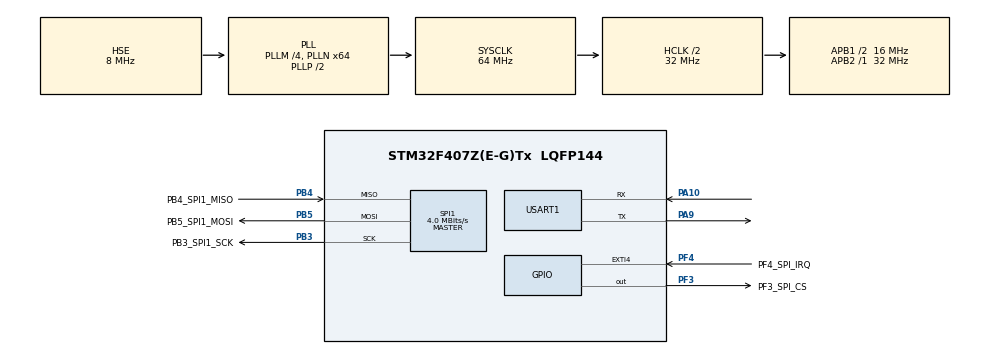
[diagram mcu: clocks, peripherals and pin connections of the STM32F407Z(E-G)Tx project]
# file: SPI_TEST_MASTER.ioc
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Mcu.Family=STM32F4
Mcu.Name=STM32F407Z(E-G)Tx
Mcu.Package=LQFP144
NVIC.EXTI4_IRQn=true\:0\:0\:false\:false\:true\:true
NVIC.PriorityGroup=NVIC_PRIORITYGROUP_4
NVIC.SPI1_IRQn=true\:0\:0\:false\:false\:true\:true
PA10.Mode=Asynchronous
PA10.Signal=USART1_RX
PA13.Mode=Serial_Wire
PA13.Signal=SYS_JTMS-SWDIO
PA14.Mode=Serial_Wire
PA14.Signal=SYS_JTCK-SWCLK
PA9.Mode=Asynchronous
PA9.Signal=USART1_TX
PB3.GPIO_Label=PB3_SPI1_SCK
PB3.Mode=Full_Duplex_Master
PB3.Signal=SPI1_SCK
PB4.GPIO_Label=PB4_SPI1_MISO
PB4.Mode=Full_Duplex_Master
PB4.Signal=SPI1_MISO
PB5.GPIO_Label=PB5_SPI1_MOSI
PB5.Mode=Full_Duplex_Master
PB5.Signal=SPI1_MOSI
PF3.GPIO_Label=PF3_SPI_CS
PF3.Signal=GPIO_Output
PF4.GPIO_Label=PF4_SPI_IRQ
PF4.GPIO_ModeDefaultEXTI=GPIO_MODE_IT_RISING
PF4.Signal=GPXTI4
PH0-OSC_IN.Mode=HSE-External-Oscillator
PH0-OSC_IN.Signal=RCC_OSC_IN
PH1-OSC_OUT.Mode=HSE-External-Oscillator
PH1-OSC_OUT.Signal=RCC_OSC_OUT
ProjectManager.HeapSize=0x200
ProjectManager.StackSize=0x400
ProjectManager.TargetToolchain=EWARM V7
RCC.48MHZClocksFreq_Value=32000000
RCC.AHBCLKDivider=RCC_SYSCLK_DIV2
RCC.AHBFreq_Value=32000000
RCC.APB1CLKDivider=RCC_HCLK_DIV2
RCC.APB1Freq_Value=16000000
RCC.APB1TimFreq_Value=32000000
RCC.APB2Freq_Value=32000000
RCC.APB2TimFreq_Value=32000000
RCC.CortexFreq_Value=32000000
RCC.HCLKFreq_Value=32000000
RCC.HSE_VALUE=8000000
RCC.HSI_VALUE=16000000
RCC.LSE_VALUE=32768
RCC.PLLM=4
RCC.PLLN=64
RCC.PLLSourceVirtual=RCC_PLLSOURCE_HSE
RCC.SYSCLKFreq_VALUE=64000000
RCC.SYSCLKSource=RCC_SYSCLKSOURCE_PLLCLK
RCC.VCOOutputFreq_Value=128000000
SPI1.BaudRatePrescaler=SPI_BAUDRATEPRESCALER_8
SPI1.CalculateBaudRate=4.0 MBits/s
SPI1.Direction=SPI_DIRECTION_2LINES
SPI1.Mode=SPI_MODE_MASTER
SPI1.VirtualType=VM_MASTER
USART1.VirtualMode=VM_ASYNC
board=SPI_TEST_MASTER

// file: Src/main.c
/**
  ******************************************************************************
  * @file           : main.c
  * @brief          : Main program body
  ******************************************************************************
  ** This notice applies to any and all portions of this file
  * that are not between comment pairs USER CODE BEGIN and
  * USER CODE END. Other portions of this file, whether
  * inserted by the user or by software development tools
  * are owned by their respective copyright owners.
  *
  * COPYRIGHT(c) 2018 STMicroelectronics
  *
  * Redistribution and use in source and binary forms, with or without modification,
  * are permitted provided that the following conditions are met:
  *   1. Redistributions of source code must retain the above copyright notice,
  *      this list of conditions and the following disclaimer.
  *   2. Redistributions in binary form must reproduce the above copyright notice,
  *      this list of conditions and the following disclaimer in the documentation
  *      and/or other materials provided with the distribution.
  *   3. Neither the name of STMicroelectronics nor the names of its contributors
  *      may be used to endorse or promote products derived from this software
  *      without specific prior written permission.
  *
  * THIS SOFTWARE IS PROVIDED BY THE COPYRIGHT HOLDERS AND CONTRIBUTORS "AS IS"
  * AND ANY EXPRESS OR IMPLIED WARRANTIES, INCLUDING, BUT NOT LIMITED TO, THE
  * IMPLIED WARRANTIES OF MERCHANTABILITY AND FITNESS FOR A PARTICULAR PURPOSE ARE
  * DISCLAIMED. IN NO EVENT SHALL THE COPYRIGHT HOLDER OR CONTRIBUTORS BE LIABLE
  * FOR ANY DIRECT, INDIRECT, INCIDENTAL, SPECIAL, EXEMPLARY, OR CONSEQUENTIAL
  * DAMAGES (INCLUDING, BUT NOT LIMITED TO, PROCUREMENT OF SUBSTITUTE GOODS OR
  * SERVICES; LOSS OF USE, DATA, OR PROFITS; OR BUSINESS INTERRUPTION) HOWEVER
  * CAUSED AND ON ANY THEORY OF LIABILITY, WHETHER IN CONTRACT, STRICT LIABILITY,
  * OR TORT (INCLUDING NEGLIGENCE OR OTHERWISE) ARISING IN ANY WAY OUT OF THE USE
  * OF THIS SOFTWARE, EVEN IF ADVISED OF THE POSSIBILITY OF SUCH DAMAGE.
  *
  ******************************************************************************
  */
#include "main.h"
#include "stm32f4xx_hal.h"
#include "dma.h"
#include "spi.h"
#include "usart.h"
#include "gpio.h"

/* USER CODE BEGIN Includes */
#include "stdarg.h"
#include "stdio.h"
#include "string.h"

#define MAX_PRINTF_STR_SIZE (254)
int32_t SerialDbgPrintf(uint8_t type, char *fmt, ...)
{
	if (type == 1)
	{
		int32_t cnt;
		char string[MAX_PRINTF_STR_SIZE + 2] = {'\0'};
		va_list ap;
		va_start(ap, fmt);

		cnt = vsnprintf(string, MAX_PRINTF_STR_SIZE, fmt, ap);
		if (cnt > 0)
		{
			if (cnt < MAX_PRINTF_STR_SIZE)
			{
				HAL_UART_Transmit(&huart1, (uint8_t *)string, cnt, 50);
			}
			else
			{
        HAL_UART_Transmit(&huart1, (uint8_t *)string, MAX_PRINTF_STR_SIZE, 50);
			}
		}
		va_end(ap);
		return (cnt);
	}
	return -1;
}

#define DebugLog(format, ...) SerialDbgPrintf(1, "\r\n" format, ##__VA_ARGS__)
#define DebugPrint(format, ...) SerialDbgPrintf(1, format, ##__VA_ARGS__)

void BLESpiTick(void);
/* USER CODE END Includes */

/* USER CODE BEGIN PV */
/* Private variables ---------------------------------------------------------*/

/* USER CODE END PV */

void SystemClock_Config(void);

/* USER CODE BEGIN PFP */
/* Private function prototypes -----------------------------------------------*/

/* USER CODE END PFP */

int main(void)
{

  /* MCU Configuration----------------------------------------------------------*/

  /* Reset of all peripherals, Initializes the Flash interface and the Systick. */
  HAL_Init();

  /* Configure the system clock */
  SystemClock_Config();

  /* Initialize all configured peripherals */
  MX_GPIO_Init();
  MX_DMA_Init();
  MX_SPI1_Init();
  MX_USART1_UART_Init();
  /* USER CODE BEGIN 2 */
  DebugLog("Spi protocol start!");
  /* USER CODE END 2 */

  /* Infinite loop */
  while (1)
  {
    BLESpiTick();
  }

}

void SystemClock_Config(void)
{

  RCC_OscInitTypeDef RCC_OscInitStruct;
  RCC_ClkInitTypeDef RCC_ClkInitStruct;

    /**Configure the main internal regulator output voltage
    */
  __HAL_RCC_PWR_CLK_ENABLE();

  __HAL_PWR_VOLTAGESCALING_CONFIG(PWR_REGULATOR_VOLTAGE_SCALE1);

    /**Initializes the CPU, AHB and APB busses clocks
    */
  RCC_OscInitStruct.OscillatorType = RCC_OSCILLATORTYPE_HSE;
  RCC_OscInitStruct.HSEState = RCC_HSE_ON;
  RCC_OscInitStruct.PLL.PLLState = RCC_PLL_ON;
  RCC_OscInitStruct.PLL.PLLSource = RCC_PLLSOURCE_HSE;
  RCC_OscInitStruct.PLL.PLLM = 4;
  RCC_OscInitStruct.PLL.PLLN = 64;
  RCC_OscInitStruct.PLL.PLLP = RCC_PLLP_DIV2;
  RCC_OscInitStruct.PLL.PLLQ = 4;
  if (HAL_RCC_OscConfig(&RCC_OscInitStruct) != HAL_OK)
  {
    _Error_Handler(__FILE__, __LINE__);
  }

    /**Initializes the CPU, AHB and APB busses clocks
    */
  RCC_ClkInitStruct.ClockType = RCC_CLOCKTYPE_HCLK|RCC_CLOCKTYPE_SYSCLK
                              |RCC_CLOCKTYPE_PCLK1|RCC_CLOCKTYPE_PCLK2;
  RCC_ClkInitStruct.SYSCLKSource = RCC_SYSCLKSOURCE_PLLCLK;
  RCC_ClkInitStruct.AHBCLKDivider = RCC_SYSCLK_DIV2;
  RCC_ClkInitStruct.APB1CLKDivider = RCC_HCLK_DIV2;
  RCC_ClkInitStruct.APB2CLKDivider = RCC_HCLK_DIV1;

  if (HAL_RCC_ClockConfig(&RCC_ClkInitStruct, FLASH_LATENCY_1) != HAL_OK)
  {
    _Error_Handler(__FILE__, __LINE__);
  }

    /**Configure the Systick interrupt time
    */
  HAL_SYSTICK_Config(HAL_RCC_GetHCLKFreq()/1000);

    /**Configure the Systick
    */
  HAL_SYSTICK_CLKSourceConfig(SYSTICK_CLKSOURCE_HCLK);

  /* SysTick_IRQn interrupt configuration */
  HAL_NVIC_SetPriority(SysTick_IRQn, 0, 0);
}

void _Error_Handler(char *file, int line)
{
  /* USER CODE BEGIN Error_Handler_Debug */
  DebugLog("_Error_Handler: (%s) (%d)", file, line);
  /* User can add his own implementation to report the HAL error return state */
  while(1)
  {
  }
  /* USER CODE END Error_Handler_Debug */
}

#ifdef  USE_FULL_ASSERT
/**
  * @brief  Reports the name of the source file and the source line number
  *         where the assert_param error has occurred.
  * @param  file: pointer to the source file name
  * @param  line: assert_param error line source number
  * @retval None
  */
void assert_failed(uint8_t* file, uint32_t line)
{
  /* USER CODE BEGIN 6 */
  DebugLog("assert_failed: (%s) (%d)", file, line);
  /* User can add his own implementation to report the file name and line number,
     tex: printf("Wrong parameters value: file %s on line %d\r\n", file, line) */
  /* USER CODE END 6 */
}
#endif /* USE_FULL_ASSERT */

#define SPI_MAX_ITEM_SIZE (128 *3)
#define SPI_BUFFER_SIZE (SPI_MAX_ITEM_SIZE + 4)

#define WIFI_SPI_HEADER_LEN  (uint8_t)(6)
#define WSHC_LOW_B (4) // WIFI SPI HEADER CRC16 LOW BYTE
#define WSHC_HIGH_B (5) // WIFI SPI HEADER CRC16 HIGH BYTE
#define WIFI_SPI_CTRL_WRITE  (uint8_t)(0x02)
#define WIFI_SPI_CTRL_READ   (uint8_t)(0x03)
#define WIFI_SPI_RSP_MASK (0x8000)

#define WIFI_SPI_IRQ_PIN_READ() HAL_GPIO_ReadPin(PF4_SPI_IRQ_GPIO_Port, PF4_SPI_IRQ_Pin)
#define WIFI_SPI_CS_SET_LOW() HAL_GPIO_WritePin(PF3_SPI_CS_GPIO_Port, PF3_SPI_CS_Pin, GPIO_PIN_RESET)
#define WIFI_SPI_CS_SET_HIGH() HAL_GPIO_WritePin(PF3_SPI_CS_GPIO_Port, PF3_SPI_CS_Pin, GPIO_PIN_SET)

#define WIFI_SPI_HANDLE hspi1

volatile uint8_t spi_irq_flag = 0;
volatile uint8_t spi_bus_halt = 0;
static uint8_t SpiRxBuffer[SPI_BUFFER_SIZE];            /**< RX buffer. */
static uint8_t SpiTxBuffer[SPI_BUFFER_SIZE];            /**< TX buffer. */
static uint16_t SpiTxSize = 0;
static uint16_t cmdRec = 0;
static uint16_t lenRec = 0;

volatile uint8_t spiCpl = 0;
volatile uint8_t spiErr = 0;

void HAL_GPIO_EXTI_Callback(uint16_t GPIO_Pin)
{
  if (GPIO_Pin == GPIO_PIN_4)
  {
    spi_irq_flag = 1;
    spi_bus_halt = 0;
  }
}

void HAL_SPI_TxRxCpltCallback(SPI_HandleTypeDef *hspi)
{
  if (&WIFI_SPI_HANDLE == hspi)
  {
    spiCpl = 1;
  }
}
void HAL_SPI_RxCpltCallback(SPI_HandleTypeDef *hspi)
{
  if (&WIFI_SPI_HANDLE == hspi)
  {
    spiCpl = 1;
  }
}
void HAL_SPI_ErrorCallback(SPI_HandleTypeDef *hspi)
{
  if (&WIFI_SPI_HANDLE == hspi)
  {
    spiErr = 1;
  }
}

int16_t SPI_Read_Bridge(void);
int16_t SPI_Write_Bridge(uint8_t* data, uint16_t Nb_bytes);
uint16_t Cal_CRC16(const uint8_t *data, uint32_t size);

void BLESpiTick(void)
{
  if (spi_bus_halt == 0)
  {
    if (spi_irq_flag == 1)
    {
      spi_irq_flag = 0;
      SPI_Read_Bridge();
    }

    HAL_Delay(5);

    if (SpiTxSize)
    {
      *((uint16_t *)SpiTxBuffer) = SpiTxSize;
      *((uint16_t *)(SpiTxBuffer + 2)) = cmdRec | WIFI_SPI_RSP_MASK;
      *((uint16_t *)(SpiTxBuffer + 4)) = lenRec;
      *((uint16_t *)(SpiTxBuffer + 6)) = Cal_CRC16(SpiTxBuffer, 6);
      SPI_Write_Bridge((uint8_t *)SpiTxBuffer, SpiTxSize);
      SpiTxSize = 0;
      memset(SpiTxBuffer, 0, sizeof(SpiTxBuffer));
    }
  }
}

int16_t SPI_Read_Bridge(void)
{
  int16_t result = -1;
  uint16_t byte_count = 0;
  uint16_t wait_count = 0;
  uint16_t crc16 = 0;

  uint8_t header_master[WIFI_SPI_HEADER_LEN] = {WIFI_SPI_CTRL_READ, 0x00, 0x00, 0x00, 0x00, 0x00};
  uint8_t header_slave[WIFI_SPI_HEADER_LEN]  = {0x00};

  uint16_t i = 0;

  uint32_t sysTickRec = 0;

  if(WIFI_SPI_IRQ_PIN_READ() == GPIO_PIN_RESET) {
    DebugLog("SPI_Read_Bridge IRQ pin state err");
    result = -2;
    goto failed;
  }

  DebugLog("SPI_Read_Bridge IRQPin(%d)", WIFI_SPI_IRQ_PIN_READ());

  memset(SpiRxBuffer, 0, sizeof(SpiRxBuffer));

  WIFI_SPI_CS_SET_LOW();
  if (HAL_SPI_TransmitReceive_DMA(&WIFI_SPI_HANDLE, header_master, header_slave, WIFI_SPI_HEADER_LEN))
  {
    DebugLog("SPI_Read_Bridge Header transfer err");
    result = -3;
    goto failed;
  }

  sysTickRec = HAL_GetTick();

  while (spiCpl == 0)
  {
    if (((HAL_GetTick() - sysTickRec) > 150) || (spiErr != 0))
    {
      if (spiErr != 0)
      {
        DebugLog("SPI_Read_Bridge Header transfer dma err");
        result = -3;
        goto failed;
      }
      else
      {
        DebugLog("SPI_Read_Bridge Header transfer timeout");
        result = -3;
        goto failed;
      }
    }
  }

  spiCpl = 0;

  crc16 = Cal_CRC16(header_slave + 2, 2);
  if (crc16 != (((uint16_t)header_slave[5])<<8 | (uint16_t)header_slave[4]))
  {
    DebugLog("SPI_Read_Bridge header_slave crc err");
    result = -4;
    goto failed;
  }

  byte_count = ((uint16_t)header_slave[3])<<8 | (uint16_t)header_slave[2];
  if (byte_count == 0)
  {
    DebugLog("SPI_Read_Bridge receive byte_count 0");
    result = -5;
    goto failed;
  }
  else if (byte_count > SPI_MAX_ITEM_SIZE)
  {
    DebugLog("SPI_Read_Bridge receive byte_count %d > max(%d)", byte_count, SPI_MAX_ITEM_SIZE);
    result = -6;
    goto failed;
  }
  else
  {
    DebugLog("SPI_Read_Bridge byte_count: %d", byte_count);
  }

  DebugLog("SPI_Read_Bridge Wait IRQPin Low");
  while (WIFI_SPI_IRQ_PIN_READ() != GPIO_PIN_RESET)
  {
    HAL_Delay(1); // Delay 10 ms
    wait_count++;
    if (wait_count == 50)
    {
      DebugLog("SPI_Read_Bridge Wait IRQPin Low Timeout");
      result = -8;
      goto failed;
    }
  }

  if (byte_count > 0)
  {
    DebugLog("SPI_Read_Bridge receive data size(%d)", byte_count);
    if (HAL_SPI_TransmitReceive_DMA(&WIFI_SPI_HANDLE, SpiRxBuffer, SpiRxBuffer, byte_count))
    {
      DebugLog("SPI_Read_Bridge receive data err");
      result = -9;
      goto failed;
    }

    sysTickRec = HAL_GetTick();

    while (spiCpl == 0)
    {
      if (((HAL_GetTick() - sysTickRec) > 1000) || (spiErr != 0))
      {
        if (spiErr != 0)
        {
          DebugLog("SPI_Read_Bridge data transfer dma err");
          result = -9;
          goto failed;
        }
        else
        {
          DebugLog("SPI_Read_Bridge data transfer timeout");
          result = -9;
          goto failed;
        }
      }
    }

    spiCpl = 0;

    crc16 = Cal_CRC16(SpiRxBuffer, byte_count - 2);
    if (crc16 != (((uint16_t)SpiRxBuffer[byte_count - 1])<<8 | (uint16_t)SpiRxBuffer[byte_count - 2]))
    {
      DebugLog("SPI_Read_Bridge read data crc err");
      result = -10;
      goto failed;
    }
  }
  result = byte_count;

  lenRec = *((uint16_t *)SpiRxBuffer);
  cmdRec = *((uint16_t *)(SpiRxBuffer + 2));
  SpiTxSize = 8;
  DebugLog("SPI_Read_Bridge lenRec(%d) cmdRec(%d)\r\n", lenRec, cmdRec);

  DebugLog("SPI_Read_Bridge received data\r\n");
  for (i = 0; i < byte_count; i++)
  {
    DebugPrint("0x%x ", SpiRxBuffer[i]);
  }
  DebugPrint("\r\n");

failed:
  if(spi_irq_flag == 1)
  {
    DebugLog("SPI_Read_Bridge spi_irq_flag pending");
  }

  if (result < 0)
  {
      DebugLog("====>>>> SPI_Read_Bridge fail");
      spi_irq_flag = 0;
      spi_bus_halt = 1;
  }

  spiErr = 0;

  WIFI_SPI_CS_SET_HIGH();

  return result;
}

int16_t SPI_Write_Bridge(uint8_t* data, uint16_t Nb_bytes)
{
  int16_t result = -1;
  uint32_t wait_count = 0;
  uint16_t crc16 = 0;

  uint8_t header_master[WIFI_SPI_HEADER_LEN] = {WIFI_SPI_CTRL_WRITE, 0x00, 0x00, 0x00, 0x00, 0x00};
  uint8_t header_slave[WIFI_SPI_HEADER_LEN]  = {0x00};
  uint16_t i = 0;

  uint32_t sysTickRec = 0;

  header_master[2] = (uint8_t)Nb_bytes;
  header_master[3] = (uint8_t)(Nb_bytes>>8);

  crc16 = Cal_CRC16(header_master + 2, 2);
  header_master[4] = (uint8_t)crc16;
  header_master[5] = (uint8_t)(crc16>>8);

  DebugLog("SPI_Write_Bridge Set CS Low");
  WIFI_SPI_CS_SET_LOW();

  while ((WIFI_SPI_IRQ_PIN_READ() == GPIO_PIN_RESET) || (spi_irq_flag == 0)) {
    HAL_Delay(1);
    wait_count++;
    if (wait_count == 1000)
    {
      DebugLog("SPI_Write_Bridge Wait IRQPin High Timeout");
      result = -2;
      goto failed;
    }
  }

  DebugLog("SPI_Write_Bridge IRQPin(%d)", WIFI_SPI_IRQ_PIN_READ());

  if (HAL_SPI_TransmitReceive_DMA(&WIFI_SPI_HANDLE, header_master, header_slave, WIFI_SPI_HEADER_LEN))
  {
    DebugLog("SPI_Write_Bridge Header transfer err");
    result = -3;
    goto failed;
  }

  sysTickRec = HAL_GetTick();

  while (spiCpl == 0)
  {
    if (((HAL_GetTick() - sysTickRec) > 150) || (spiErr != 0))
    {
      if (spiErr != 0)
      {
        DebugLog("SPI_Write_Bridge Header transfer dma err");
        result = -3;
        goto failed;
      }
      else
      {
        DebugLog("SPI_Write_Bridge Header transfer timeout");
        result = -3;
        goto failed;
      }
    }
  }

  spiCpl = 0;
  spi_irq_flag = 0;

  DebugLog("SPI_Write_Bridge Wait IRQPin Low");
  wait_count = 0;
  while (WIFI_SPI_IRQ_PIN_READ() != GPIO_PIN_RESET)
  {
    HAL_Delay(1);
    wait_count++;
    if (wait_count == 50)
    {
      DebugLog("SPI_Write_Bridge Wait IRQPin Low Timeout");
      result = -7;
      goto failed;
    }
  }

  DebugLog("SPI_Write_Bridge transfer dataLen(%d):\r\n", Nb_bytes);
  for (i = 0; i < Nb_bytes; i++)
  {
    DebugPrint("0x%x ", data[i]);
  }
  DebugPrint("\r\n");
  if (HAL_SPI_TransmitReceive_DMA(&WIFI_SPI_HANDLE, data, data, Nb_bytes))
  {
    DebugLog("SPI_Write_Bridge data transfer err");
    result = -8;
    goto failed;
  }

  sysTickRec = HAL_GetTick();

  while (spiCpl == 0)
  {
    if (((HAL_GetTick() - sysTickRec) > 1000) || (spiErr != 0))
    {
      if (spiErr != 0)
      {
        DebugLog("SPI_Write_Bridge data transfer dma err");
        result = -8;
        goto failed;
      }
      else
      {
        DebugLog("SPI_Write_Bridge data transfer timeout");
        result = -8;
        goto failed;
      }
    }
  }

  spiCpl = 0;
  result = Nb_bytes;

failed:

  if(spi_irq_flag == 1)
  {
    DebugLog("SPI_Write_Bridge spi_irq_flag pending");
  }

  if (result < 0)
  {
    DebugLog("====>>>> SPI_Write_Bridge fail");
    spi_irq_flag = 0;
    spi_bus_halt = 1;
  }

  spiErr = 0;

  WIFI_SPI_CS_SET_HIGH();

  return result;
}

/**
  * @brief  Update CRC 16 for input byte
  * @param  CRC input value
  * @param  input byte
  * @retval Updated CRC value
  */
static uint16_t UpdateCRC16(uint16_t crcIn, uint8_t byte)
{
  uint32_t crc = crcIn;
  uint32_t in = byte | 0x100;

  do
  {
    crc <<= 1;
    in <<= 1;

    if (in & 0x100)
    {
      ++crc;
    }

    if (crc & 0x10000)
    {
      crc ^= 0x1021;
    }
  } while (!(in & 0x10000));

  return (crc & 0xffffu);
}

/**
  * @brief  Cal CRC 16 for YModem Packet
  * @param  data
  * @param  length
  * @retval CRC value
  */
uint16_t Cal_CRC16(const uint8_t *data, uint32_t size)
{
  uint32_t crc = 0;
  const uint8_t *dataEnd = data + size;

  while (data < dataEnd)
  {
    crc = UpdateCRC16(crc, *data++);
  }
  crc = UpdateCRC16(crc, 0);
  crc = UpdateCRC16(crc, 0);

  return (crc & 0xffffu);
}

/************************ (C) COPYRIGHT STMicroelectronics *****END OF FILE****/
